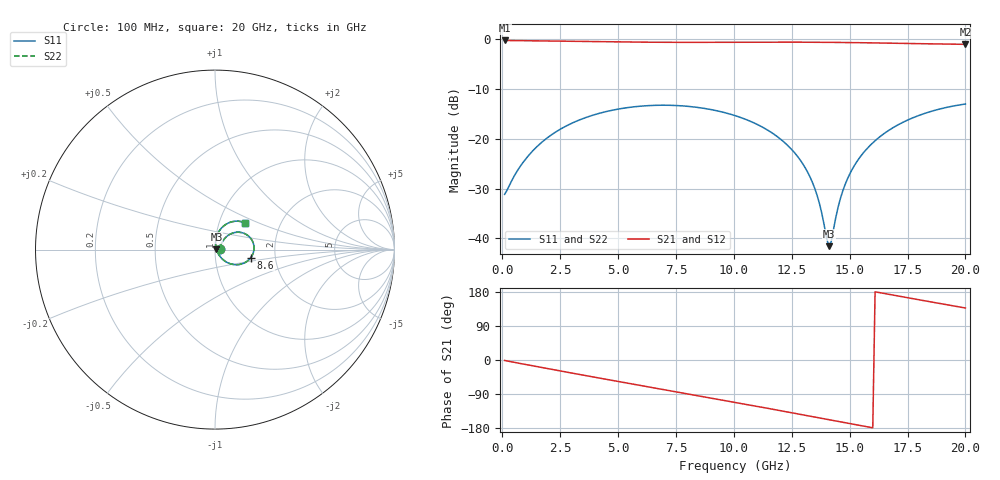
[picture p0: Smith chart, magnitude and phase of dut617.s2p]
! Touchstone file exported from HFSS 2026.1.0
!  File:  C:/ffzhzh/LocalFiles/Ansys_Project_Files/temp_train_TSV_RDL_617_1783124422_53076.aedt
!  Generated:  08:29:35 AM Jul  4, 2026
!  Design:  TSV_RDL
!  Project:  temp_train_TSV_RDL_617_1783124422_53076
! Variables:
!  h_bsmrdl = 3.44um
!  h_ox = 20um
!  h_rdl = 5um
!  h_sub = 66.46um
!  h_tmrdl = 3.29um
!  h_tsv = 66.46um
!  h_via = 3um
!  l_bsmrdl = 276.28um
!  l_sub = 3412.88um
!  l_tmrdl = 528.76um
!  m_sub = 200um
!  pitch = 22.25um
!  r_tsv = 9.29um
!  s_tmrdl = 10um
!  w_bsmrdl = 10.1um
!  w_sub = 500um
!  w_tmrdl = 12.9um
!  x_tsv_center1 = 535.21um
!  x_tsv_center2 = 821.59um
!  x_tsv_center3 = 1363.25um
!  x_tsv_center4 = 1649.63um
!  x_tsv_center5 = 2191.29um
!  x_tsv_center6 = 2477.67um
# GHz S MA R 50.000000
! Terminal data exported
! Port[1] = TM_RDL1_1_T1
! Port[2] = TM_RDL5_1_T1
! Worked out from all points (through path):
!   200 points, 100 MHz to 20 GHz, reference 50 ohm
!   highest |S21| = -0.24 dB at 100 MHz (marker M1); lowest = -1.0 dB at 20 GHz (marker M2)
!   group delay of S21, straight-line fit = 30.9 ps
!   lowest |S11| = -41.5 dB at 14.1 GHz (marker M3), VSWR 1.02, Z = 50.8 + j0.134 ohm
!   |S11| at or under -10 dB: start of sweep to end of sweep
!   |S22| runs from -41.5 to -13.0 dB; largest |S21 - S12| = 3.2e-14
!   S11 on the Smith chart (normalised r, x): 100 MHz: 1.06, +0.01; 8.6 GHz: 1.49, -0.14; 20 GHz: 1.33, +0.42
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0.1  0.02775 12.2  0.973 -1.2  0.973 -1.2  0.02775 12.2
! Gamma 0 0 0 0
! Port Impedance 50 0 50 0
0.8  0.05401 44.6  0.9668 -9.5  0.9668 -9.5  0.05401 44.6
1.5  0.08374 48.9  0.9626 -17.5  0.9626 -17.5  0.08374 48.9
2.4  0.1209 45.5  0.9572 -27.7  0.9572 -27.7  0.1209 45.5
3.5  0.1604 37.2  0.9498 -40.0  0.9498 -40.0  0.1604 37.2
5.2  0.2027 21.4  0.9391 -58.8  0.9391 -58.8  0.2027 21.4
6.8  0.2177 5.5  0.9328 -76.2  0.9328 -76.2  0.2177 5.5
8.6  0.2044 -12.7  0.9314 -95.8  0.9314 -95.8  0.2044 -12.7
10.1  0.1699 -27.9  0.9332 -112.3  0.9332 -112.3  0.1699 -27.9
11.3  0.1287 -39.8  0.9349 -125.7  0.9349 -125.7  0.1288 -39.8
12.2  0.09149 -48.1  0.9354 -135.8  0.9354 -135.8  0.09152 -48.0
12.9  0.05978 -52.9  0.9348 -143.8  0.9348 -143.8  0.05981 -52.9
13.4  0.03628 -53.1  0.9338 -149.5  0.9338 -149.5  0.03632 -53.0
13.7  0.02231 -47.7  0.9329 -152.9  0.9329 -152.9  0.02235 -47.6
14.1  0.008374 9.1  0.9315 -157.4  0.9315 -157.4  0.008442 8.9
14.2  0.009194 40.2  0.931 -158.6  0.931 -158.6  0.009244 39.9
14.6  0.02511 81.2  0.9291 -163.1  0.9291 -163.1  0.02511 81.0
15.1  0.04892 85.3  0.9263 -168.8  0.9263 -168.8  0.04891 85.2
15.8  0.08205 81.7  0.9216 -176.7  0.9216 -176.7  0.08203 81.7
16.7  0.1222 74.0  0.9145 173.2  0.9145 173.2  0.1222 74.0
18.2  0.1789 59.5  0.902 156.7  0.902 156.7  0.1789 59.4
20  0.2239 41.7  0.8894 137.2  0.8894 137.2  0.2238 41.6
